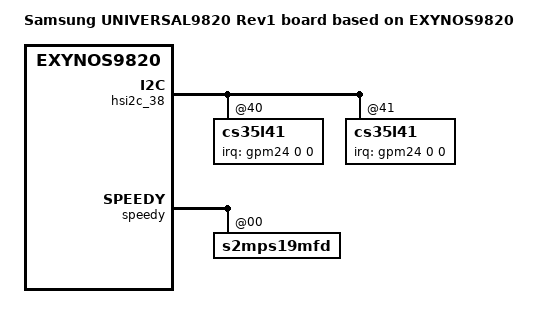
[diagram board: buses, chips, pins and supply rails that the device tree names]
/*
 * SAMSUNG EXYNOS9820 board device tree source
 *
 * Copyright (c) 2018 Samsung Electronics Co., Ltd.
 *		http://www.samsung.com
 *
 * This program is free software; you can redistribute it and/or modify
 * it under the terms of the GNU General Public License version 2 as
 * published by the Free Software Foundation.
*/

/dts-v1/;
/plugin/;

#include "modem-s5000ap-sipc-pdata.dtsi"
#include "exynos9820_evt0-universal9820_common.dtsi"
#include "exynos9820-rmem_s5000ap.dtsi"
#include "exynos9820_evt0-universal9820-camera.dtsi"

/ {
	compatible = "samsung,exynos9820", "samsung,UNIVERSAL9820";
	board_id = <0x0>;
	board_rev = <0x1>;

	fragment@model {
		target-path = "/";
		__overlay__ {
			#address-cells = <2>;
			#size-cells = <1>;

			model = "Samsung UNIVERSAL9820 Rev1 board based on EXYNOS9820";

		}; /* end of __overlay__ */
	}; /* end of fragment */
}; /* end of root */


&hsi2c_38 {
	cs35l41@40 {
		interrupt-parent = <&gpm24>;
		interrupts = <0 0 0>;
	};

	cs35l41@41 {
		interrupt-parent = <&gpm24>;
		interrupts = <0 0 0>;
	};
};

&speedy {
	s2mps19mfd@00 {
		smpl_warn_dev2= <0>;
	};
};
